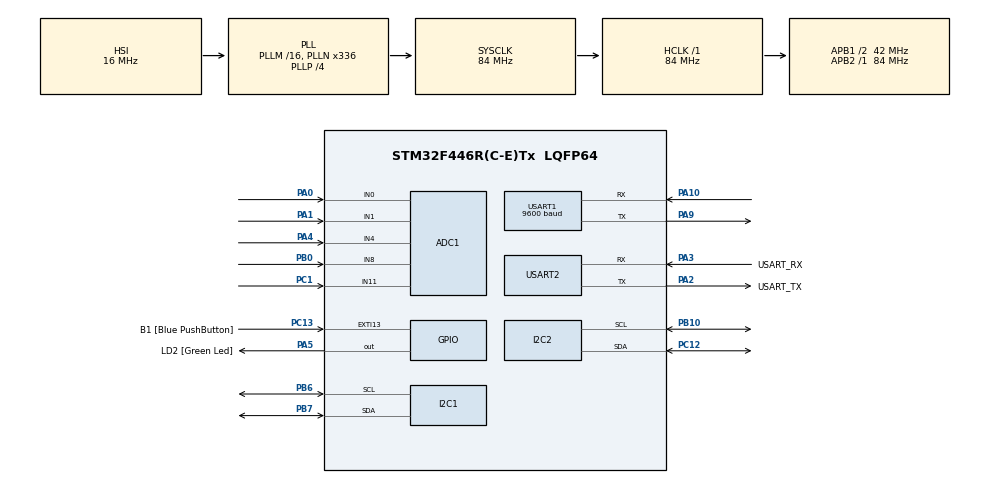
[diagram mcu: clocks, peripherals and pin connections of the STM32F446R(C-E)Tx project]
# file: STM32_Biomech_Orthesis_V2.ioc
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ADC1.Channel-0\#ChannelRegularConversion=ADC_CHANNEL_0
ADC1.Channel-1\#ChannelRegularConversion=ADC_CHANNEL_1
ADC1.Channel-2\#ChannelRegularConversion=ADC_CHANNEL_4
ADC1.Channel-3\#ChannelRegularConversion=ADC_CHANNEL_8
ADC1.Channel-4\#ChannelRegularConversion=ADC_CHANNEL_11
ADC1.ContinuousConvMode=ENABLE
ADC1.NbrOfConversion=5
ADC1.NbrOfConversionFlag=1
ADC1.Rank-0\#ChannelRegularConversion=1
ADC1.Rank-1\#ChannelRegularConversion=2
ADC1.Rank-2\#ChannelRegularConversion=3
ADC1.Rank-3\#ChannelRegularConversion=4
ADC1.Rank-4\#ChannelRegularConversion=5
ADC1.SamplingTime-0\#ChannelRegularConversion=ADC_SAMPLETIME_56CYCLES
ADC1.SamplingTime-1\#ChannelRegularConversion=ADC_SAMPLETIME_56CYCLES
ADC1.SamplingTime-2\#ChannelRegularConversion=ADC_SAMPLETIME_56CYCLES
ADC1.SamplingTime-3\#ChannelRegularConversion=ADC_SAMPLETIME_56CYCLES
ADC1.SamplingTime-4\#ChannelRegularConversion=ADC_SAMPLETIME_56CYCLES
ADC1.master=1
I2C1.I2C_Mode=I2C_Fast
I2C2.I2C_Mode=I2C_Fast
Mcu.Family=STM32F4
Mcu.Name=STM32F446R(C-E)Tx
Mcu.Package=LQFP64
NVIC.PriorityGroup=NVIC_PRIORITYGROUP_0
PA0-WKUP.Signal=ADCx_IN0
PA1.Signal=ADCx_IN1
PA10.Mode=Asynchronous
PA10.Signal=USART1_RX
PA13.GPIO_Label=TMS
PA13.Mode=Serial_Wire
PA13.Signal=SYS_JTMS-SWDIO
PA14.GPIO_Label=TCK
PA14.Mode=Serial_Wire
PA14.Signal=SYS_JTCK-SWCLK
PA2.GPIO_Label=USART_TX
PA2.Mode=Asynchronous
PA2.Signal=USART2_TX
PA3.GPIO_Label=USART_RX
PA3.Mode=Asynchronous
PA3.Signal=USART2_RX
PA4.Signal=ADCx_IN4
PA5.GPIO_Label=LD2 [Green Led]
PA5.Signal=GPIO_Output
PA9.Mode=Asynchronous
PA9.Signal=USART1_TX
PB0.Signal=ADCx_IN8
PB10.Mode=I2C
PB10.Signal=I2C2_SCL
PB3.GPIO_Label=SWO
PB3.Signal=SYS_JTDO-SWO
PB6.Mode=I2C
PB6.Signal=I2C1_SCL
PB7.Mode=I2C
PB7.Signal=I2C1_SDA
PC1.Signal=ADCx_IN11
PC12.Mode=I2C
PC12.Signal=I2C2_SDA
PC13.GPIO_Label=B1 [Blue PushButton]
PC13.GPIO_ModeDefaultEXTI=GPIO_MODE_IT_FALLING
PC13.Signal=GPXTI13
PC14-OSC32_IN.Mode=LSE-External-Oscillator
PC14-OSC32_IN.Signal=RCC_OSC32_IN
PC15-OSC32_OUT.Mode=LSE-External-Oscillator
PC15-OSC32_OUT.Signal=RCC_OSC32_OUT
PH0-OSC_IN.Mode=HSE-External-Oscillator
PH0-OSC_IN.Signal=RCC_OSC_IN
PH1-OSC_OUT.Mode=HSE-External-Oscillator
PH1-OSC_OUT.Signal=RCC_OSC_OUT
ProjectManager.HeapSize=0x200
ProjectManager.StackSize=0x400
ProjectManager.TargetToolchain=STM32CubeIDE
RCC.48MHZClocksFreq_Value=84000000
RCC.AHBFreq_Value=84000000
RCC.APB1CLKDivider=RCC_HCLK_DIV2
RCC.APB1Freq_Value=42000000
RCC.APB1TimFreq_Value=84000000
RCC.APB2Freq_Value=84000000
RCC.APB2TimFreq_Value=84000000
RCC.CortexFreq_Value=84000000
RCC.FLatency-AdvancedSettings=FLASH_LATENCY_2
RCC.HCLKFreq_Value=84000000
RCC.HSE_VALUE=8000000
RCC.HSI_VALUE=16000000
RCC.PLLN=336
RCC.PLLP=RCC_PLLP_DIV4
RCC.SYSCLKFreq_VALUE=84000000
RCC.SYSCLKSource=RCC_SYSCLKSOURCE_PLLCLK
RCC.USBFreq_Value=168000000
RCC.VCOOutputFreq_Value=336000000
SH.ADCx_IN0.0=ADC1_IN0,IN0
SH.ADCx_IN1.0=ADC1_IN1,IN1
SH.ADCx_IN11.0=ADC1_IN11,IN11
SH.ADCx_IN4.0=ADC1_IN4,IN4
SH.ADCx_IN8.0=ADC1_IN8,IN8
USART1.BaudRate=9600
USART1.VirtualMode=VM_ASYNC
USART1.WordLength=WORDLENGTH_8B
USART2.VirtualMode=VM_ASYNC
board=NUCLEO-F446RE

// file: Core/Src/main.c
/* USER CODE BEGIN Header */
/**
  ******************************************************************************
  * @file           : main.c
  * @brief          : Main program body
  ******************************************************************************
  * @attention
  *
  * Copyright (c) 2023 STMicroelectronics.
  * All rights reserved.
  *
  * This software is licensed under terms that can be found in the LICENSE file
  * in the root directory of this software component.
  * If no LICENSE file comes with this software, it is provided AS-IS.
  *
  ******************************************************************************
  */
/* USER CODE END Header */
#include "main.h"
#include "adc.h"
#include "i2c.h"
#include "usart.h"
#include "gpio.h"

/* USER CODE BEGIN Includes */
#include <stdio.h>
#include <string.h>
#include <stdlib.h>
#include <math.h>
#include <stdbool.h>

/* USER CODE END Includes */

/* USER CODE BEGIN PTD */
#define MPU6050_ADDR 0xD0
#define MPU6050_ADDRES 0xD2

#define SMPLRT_DIV_REG 0x19
#define GYRO_CONFIG_REG 0x1B
#define ACCEL_CONFIG_REG 0x1C
#define ACCEL_XOUT_H_REG 0x3B
#define TEMP_OUT_H_REG 0x41
#define GYRO_XOUT_H_REG 0x43
#define PWR_MGMT_1_REG 0x6B
#define WHO_AM_I_REG 0x75
/* USER CODE END PTD */

/* USER CODE BEGIN PD */
uint16_t ACCEL_XOUT, ACCEL_YOUT, ACCEL_ZOUT;

int16_t Accel_X_RAW = 0;
int16_t Accel_Y_RAW = 0;
int16_t Accel_Z_RAW = 0;

int16_t Gyro_X_RAW = 0;
int16_t Gyro_Y_RAW = 0;
int16_t Gyro_Z_RAW = 0;

int16_t Accel_X_RAW2 = 0;
int16_t Accel_Y_RAW2 = 0;
int16_t Accel_Z_RAW2 = 0;

int16_t Gyro_X_RAW2 = 0;
int16_t Gyro_Y_RAW2 = 0;
int16_t Gyro_Z_RAW2 = 0;
uint8_t data;
uint8_t Rec_Data[6], Rec_Data2[6];;
uint8_t buffer[2],tuffer[6],cuffer[6]; // ham gyro ve acc değerlerinin tutulduğu listeler
int16_t gyro_raw[3],acc_raw[3];        // anlamlandırılmış ham değerler
float gyro_cal1[3],gyro_cal2[3]; // kalibrasyon offsetlerini tutan liste
int16_t acc_total_vector1, acc_total_vector2;
float angle_pitch_gyro1, angle_roll_gyro1, angle_pitch_gyro2, angle_roll_gyro2;
float angle_pitch_acc1, angle_roll_acc1, angle_pitch_acc2, angle_roll_acc2, angle_pitch_acc_sum, angle_roll_acc_sum,acc_total_vector_sum;
float angle_pitch1,angle_roll1, angle_pitch2,angle_roll2;
int16_t raw_temp;
float temp;
int i,j;
float prevtime,prevtime1,time1,elapsedtime1,prevtime2,time2,elapsedtime2;
uint16_t flexADCvalue[5];
float Vflex[5];
float angles[5];
float Ax, Ay, Az, Gx, Gy, Gz;
float Ax2, Ay2, Az2, Gx2, Gy2, Gz2;
uint8_t Rx_data[1];

float Rcc1 = 9.94;
float Rcc2 = 9.71;
float Rcc3 = 9.66;
float Rcc4 = 31.5;
float Rcc5 = 30.2;
float Rf1 = 0;
float Rf2 = 0;
float Rf3 = 0;
float Rf4 = 0;
float Rf5 = 0;
float Rf1b = 0;
float Rf2b = 0;
float Rf3b = 0;
float Rf4b = 0;
float Rf5b = 0;
float Rf1bb = 0;
float Rf2bb = 0;
float Rf3bb = 0;
float Rf4bb = 0;
float Rf5bb = 0;

/* USER CODE END PD */

void SystemClock_Config(void);

/* USER CODE BEGIN 0 */
ADC_ChannelConfTypeDef sConfig = {0};
void Read_ADC0(){
	/** Configure for the selected ADC regular channel its corresponding rank in the sequencer and its sample time.*/
	sConfig.Channel = ADC_CHANNEL_0;
	sConfig.Rank = 1;
	sConfig.SamplingTime = ADC_SAMPLETIME_56CYCLES;
	HAL_ADC_ConfigChannel(&hadc1, &sConfig);
	HAL_ADC_Start(&hadc1);

	if(HAL_ADC_PollForConversion(&hadc1, 1000) == HAL_OK){
		flexADCvalue[0] = HAL_ADC_GetValue(&hadc1);
		//Main aim is sending Vflex data from UART!
		Vflex[0] = 3.3 * flexADCvalue[0] / 4095;
	}

	HAL_ADC_Stop(&hadc1);
}
void Read_ADC1(){
	/** Configure for the selected ADC regular channel its corresponding rank in the sequencer and its sample time.*/
	sConfig.Channel = ADC_CHANNEL_1;
	sConfig.Rank = 1;
	sConfig.SamplingTime = ADC_SAMPLETIME_56CYCLES;
	HAL_ADC_ConfigChannel(&hadc1, &sConfig);
	HAL_ADC_Start(&hadc1);

	if(HAL_ADC_PollForConversion(&hadc1, 1000) == HAL_OK){
		flexADCvalue[1] = HAL_ADC_GetValue(&hadc1);
		//Main aim is sending Vflex data from UART!
		Vflex[1] = 3.3 * flexADCvalue[1] / 4095;
	}

	HAL_ADC_Stop(&hadc1);
}
void Read_ADC2(){
	/** Configure for the selected ADC regular channel its corresponding rank in the sequencer and its sample time.*/
	sConfig.Channel = ADC_CHANNEL_4;
	sConfig.Rank = 1;
	sConfig.SamplingTime = ADC_SAMPLETIME_56CYCLES;
	HAL_ADC_ConfigChannel(&hadc1, &sConfig);
	HAL_ADC_Start(&hadc1);

	if(HAL_ADC_PollForConversion(&hadc1, 1000) == HAL_OK){
		flexADCvalue[2] = HAL_ADC_GetValue(&hadc1);
		//Main aim is sending Vflex data from UART!
		Vflex[2] = 3.3 * flexADCvalue[2] / 4095;
	}

	HAL_ADC_Stop(&hadc1);
}
void Read_ADC3(){
	/** Configure for the selected ADC regular channel its corresponding rank in the sequencer and its sample time.*/
	sConfig.Channel = ADC_CHANNEL_8;
	sConfig.Rank = 1;
	sConfig.SamplingTime = ADC_SAMPLETIME_56CYCLES;
	HAL_ADC_ConfigChannel(&hadc1, &sConfig);
	HAL_ADC_Start(&hadc1);

	if(HAL_ADC_PollForConversion(&hadc1, 1000) == HAL_OK){
		flexADCvalue[3] = HAL_ADC_GetValue(&hadc1);
		//Main aim is sending Vflex data from UART!
		Vflex[3] = 3.3 * flexADCvalue[3] / 4095;
	}

	HAL_ADC_Stop(&hadc1);
}
void Read_ADC4(){
	/** Configure for the selected ADC regular channel its corresponding rank in the sequencer and its sample time.*/
	sConfig.Channel = ADC_CHANNEL_11;
	sConfig.Rank = 1;
	sConfig.SamplingTime = ADC_SAMPLETIME_56CYCLES;
	HAL_ADC_ConfigChannel(&hadc1, &sConfig);
	HAL_ADC_Start(&hadc1);

	if(HAL_ADC_PollForConversion(&hadc1, 1000) == HAL_OK){
		flexADCvalue[4] = HAL_ADC_GetValue(&hadc1);
		//Main aim is sending Vflex data from UART!
		Vflex[4] = 3.3 * flexADCvalue[4] / 4095;
	}

	HAL_ADC_Stop(&hadc1);
}
void floatToChar(float floatValue, char* charArray, int arraySize) {
  // Use snprintf to convert float to char array
  snprintf(charArray, arraySize, "%f", floatValue);
}
void MPU6050_Init (void)
{
	uint8_t check;
	uint8_t Data;

	// check device ID WHO_AM_I

	HAL_I2C_Mem_Read (&hi2c1, MPU6050_ADDR,WHO_AM_I_REG,1, &check, 1, 1000);

	if (check == 104)  // 0x68 will be returned by the sensor if everything goes well
	{
		// power management register 0X6B we should write all 0's to wake the sensor up
		Data = 0;
		HAL_I2C_Mem_Write(&hi2c1, MPU6050_ADDR, PWR_MGMT_1_REG, 1,&Data, 1, 1000);

		// Set DATA RATE of 1KHz by writing SMPLRT_DIV register
		Data = 0x07;
		HAL_I2C_Mem_Write(&hi2c1, MPU6050_ADDR, SMPLRT_DIV_REG, 1, &Data, 1, 1000);

		// Set accelerometer configuration in ACCEL_CONFIG Register
		// XA_ST=0,YA_ST=0,ZA_ST=0, FS_SEL=0 -> ± 2g
		Data = 0x00;
		HAL_I2C_Mem_Write(&hi2c1, MPU6050_ADDR, ACCEL_CONFIG_REG, 1, &Data, 1, 1000);

		// Set Gyroscopic configuration in GYRO_CONFIG Register
		// XG_ST=0,YG_ST=0,ZG_ST=0, FS_SEL=0 -> ± 250 °/s
		Data = 0x00;
		HAL_I2C_Mem_Write(&hi2c1, MPU6050_ADDR, GYRO_CONFIG_REG, 1, &Data, 1, 1000);
	}

//	for(i=0; i<2000; i++)
//{
//	  	  prevtime2 = time2;
//	  	  time2 = HAL_GetTick();
//	  	  elapsedtime2=(time2-prevtime2)*1000;
//
//	  	  Rec_Data[0]=0x43;
//	  	  HAL_I2C_Master_Transmit(&hi2c1,MPU6050_ADDR,Rec_Data,1,HAL_MAX_DELAY);
//	  	  HAL_I2C_Master_Receive(&hi2c1,MPU6050_ADDR,Rec_Data,6,HAL_MAX_DELAY);
//
//	  	  Gyro_X_RAW = (Rec_Data[0] << 8 | Rec_Data[1]);
//	  	  Gyro_Y_RAW = (Rec_Data[2] << 8 | Rec_Data[3]);
//	  	  Gyro_Z_RAW = (Rec_Data[4] << 8 | Rec_Data[5]);
//
//	  	  gyro_cal1[0] += Gyro_X_RAW;
//	  	  gyro_cal1[1] += Gyro_Y_RAW;
//	  	  gyro_cal1[2] += Gyro_Z_RAW;
//
//	  	  HAL_Delay(3);
//}

//	    gyro_cal1[0] /= 2000;
//	    gyro_cal1[1] /= 2000;
//	    gyro_cal1[2] /= 2000;
}
void flexAngle(float *result, float Rcc,float Rfb, float Vf) {
    float Rf = (Rcc * Vf) / (3.3 - Vf);
    float change = ((Rf - Rfb) / Rfb) * 100;
    float a = -0.0006;
    float b = 0.7623;
    float c = 4.4311;
    *result = a * change * change + b * change + c;
}

void flexAngleShort(float *result, float Rcc,float Rfb, float Vf) {
    float Rf = (Rcc * Vf) / (3.3 - Vf);
    float change = ((Rf - Rfb) / Rfb) * 100;
    float a = 0.0018;
    float b = 0.8698;
    float c = 1.0836;
    *result = a * change * change + b * change + c;
}

void MPU6050_Init_2 (void)
{
	uint8_t check1;
	uint8_t Data1;

	// check device ID WHO_AM_I

	HAL_I2C_Mem_Read (&hi2c2, MPU6050_ADDRES,WHO_AM_I_REG,1, &check1, 1, 1000);

	if (check1 == 104)  // 0x68 will be returned by the sensor if everything goes well
	{
		// power management register 0X6B we should write all 0's to wake the sensor up
		Data1 = 0;
		HAL_I2C_Mem_Write(&hi2c2, MPU6050_ADDRES, PWR_MGMT_1_REG, 1,&Data1, 1, 1000);

		// Set DATA RATE of 1KHz by writing SMPLRT_DIV register
		Data1 = 0x07;
		HAL_I2C_Mem_Write(&hi2c2, MPU6050_ADDRES, SMPLRT_DIV_REG, 1, &Data1, 1, 1000);

		// Set accelerometer configuration in ACCEL_CONFIG Register
		// XA_ST=0,YA_ST=0,ZA_ST=0, FS_SEL=0 -> ± 2g
		Data1 = 0x00;
		HAL_I2C_Mem_Write(&hi2c2, MPU6050_ADDRES, ACCEL_CONFIG_REG, 1, &Data1, 1, 1000);

		// Set Gyroscopic configuration in GYRO_CONFIG Register
		// XG_ST=0,YG_ST=0,ZG_ST=0, FS_SEL=0 -> ± 250 °/s
		Data1 = 0x00;
		HAL_I2C_Mem_Write(&hi2c2, MPU6050_ADDRES, GYRO_CONFIG_REG, 1, &Data1, 1, 1000);
	}

//	for(j=0; j<2000; j++)
//	    {
//	  	  prevtime2 = time2;
//	  	  time2 = HAL_GetTick();
//	  	  elapsedtime2=(time2-prevtime2)*1000;
//
//	  	  Rec_Data2[0]=0x43;
//	  	  HAL_I2C_Master_Transmit(&hi2c1,MPU6050_ADDR,Rec_Data2,1,HAL_MAX_DELAY);
//	  	  HAL_I2C_Master_Receive(&hi2c1,MPU6050_ADDR,Rec_Data2,6,HAL_MAX_DELAY);
//
//	  	  Gyro_X_RAW2 = (Rec_Data2[0] << 8 | Rec_Data2[1]);
//	  	  Gyro_Y_RAW2 = (Rec_Data2[2] << 8 | Rec_Data2[3]);
//	  	  Gyro_Z_RAW2 = (Rec_Data2[4] << 8 | Rec_Data2[5]);
//
//	  	  gyro_cal2[0] += Gyro_X_RAW;
//	  	  gyro_cal2[1] += Gyro_Y_RAW;
//	  	  gyro_cal2[2] += Gyro_Z_RAW;
//
//	  	  HAL_Delay(3);
//
//	    }
//
//	    gyro_cal2[0] /= 2000;
//	    gyro_cal2[1] /= 2000;
//	    gyro_cal2[2] /= 2000;
}

void MPU_6050_Read_Accel(void){

	uint8_t Read_Acc[6];
	HAL_I2C_Mem_Read(&hi2c1, MPU6050_ADDR, ACCEL_XOUT_H_REG, 1, Read_Acc, 6, 100);
	Accel_X_RAW = (uint16_t)((Read_Acc[0] << 8 )| (Read_Acc[1]));
	Accel_Y_RAW = (uint16_t)((Read_Acc[2] << 8 )| (Read_Acc[3]));
	Accel_Z_RAW = (uint16_t)((Read_Acc[4] << 8 )| (Read_Acc[5]));

	Ax = Accel_X_RAW/16384.0;
	Ay = Accel_Y_RAW/16384.0;
	Az = Accel_Z_RAW/16384.0;

	acc_total_vector1 = sqrt((Accel_X_RAW*Accel_X_RAW)+(Accel_Y_RAW*Accel_Y_RAW)+(Accel_Z_RAW*Accel_Z_RAW));

	angle_pitch_acc1 = asin((float)Accel_Y_RAW/acc_total_vector1)* 57.296;
    angle_roll_acc1 = asin((float)Accel_X_RAW/acc_total_vector1)* -57.296;

    angle_pitch_acc1 -= 0;//0.05;
    angle_roll_acc1 -= 0;//-1.32;

    angle_roll1=atan(Ay/sqrt(Ax*Ax+Az*Az))*1/(3.142/180);
    angle_pitch1=-atan(Ax/sqrt(Ay*Ay+Az*Az))*1/(3.142/180);

}

	void MPU6050_Read_Gyro (void)
	{
		uint8_t Rec_Data[6];

		// Read 6 BYTES of data starting from GYRO_XOUT_H register

		HAL_I2C_Mem_Read (&hi2c1, MPU6050_ADDR, GYRO_XOUT_H_REG, 1, Rec_Data, 6, 1000);

		Gyro_X_RAW = (int16_t)(Rec_Data[0] << 8 | Rec_Data [1]);
		Gyro_Y_RAW = (int16_t)(Rec_Data[2] << 8 | Rec_Data [3]);
		Gyro_Z_RAW = (int16_t)(Rec_Data[4] << 8 | Rec_Data [5]);

		/*** convert the RAW values into dps (°/s)
		     we have to divide according to the Full scale value set in FS_SEL
		     I have configured FS_SEL = 0. So I am dividing by 131.0
		     for more details check GYRO_CONFIG Register              ****/

//		Gx = Gyro_X_RAW/131.0;
//		Gy = Gyro_Y_RAW/131.0;
//		Gz = Gyro_Z_RAW/131.0;

		Gyro_X_RAW -= gyro_cal1[0];
		Gyro_Y_RAW -= gyro_cal1[1];
		Gyro_Z_RAW -= gyro_cal1[2];

		angle_pitch_gyro1 += Gyro_X_RAW * 0.0000611;
	    angle_roll_gyro1 += Gyro_Y_RAW * 0.0000611;

	    angle_pitch_gyro1 += angle_roll_gyro1 * sin(Gyro_Z_RAW  * 0.000001066);
	    angle_roll_gyro1 -= angle_pitch_gyro1 * sin(Gyro_Z_RAW  * 0.000001066);
	}

void MPU_6050_Read_Accel_2(void){

	uint8_t Read_Acc2[6];
	HAL_I2C_Mem_Read(&hi2c2, MPU6050_ADDRES, ACCEL_XOUT_H_REG, 1, Read_Acc2, 6, 100);
	Accel_X_RAW2 = (uint16_t)((Read_Acc2[0] << 8 )| (Read_Acc2[1]));
	Accel_Y_RAW2 = (uint16_t)((Read_Acc2[2] << 8 )| (Read_Acc2[3]));
	Accel_Z_RAW2 = (uint16_t)((Read_Acc2[4] << 8 )| (Read_Acc2[5]));

	Ax2 = Accel_X_RAW2/16384.0;
	Ay2 = Accel_Y_RAW2/16384.0;
	Az2 = Accel_Z_RAW2/16384.0;

	acc_total_vector2 = sqrt((Accel_X_RAW2*Accel_X_RAW2)+(Accel_Y_RAW2*Accel_Y_RAW2)+(Accel_Z_RAW2*Accel_Z_RAW2));

		angle_pitch_acc2 = asin((float)Accel_Y_RAW2/acc_total_vector2)* 57.296;
	    angle_roll_acc2 = asin((float)Accel_X_RAW2/acc_total_vector2)* -57.296;

	    angle_pitch_acc2 -= 0;//0.05;
	    angle_roll_acc2 -= 0;//-1.32;

	    angle_roll2=atan(Ay2/sqrt(Ax2*Ax2+Az2*Az2))*1/(3.142/180);
	    angle_pitch2=-atan(Ax2/sqrt(Ay2*Ay2+Az2*Az2))*1/(3.142/180);
}

	void MPU6050_Read_Gyro_2(void)
	{
		uint8_t Rec_Data2[6];

		// Read 6 BYTES of data starting from GYRO_XOUT_H register

		HAL_I2C_Mem_Read (&hi2c2, MPU6050_ADDRES, GYRO_XOUT_H_REG, 1, Rec_Data2, 6, 1000);

		Gyro_X_RAW2 = (int16_t)(Rec_Data2[0] << 8 | Rec_Data2 [1]);
		Gyro_Y_RAW2 = (int16_t)(Rec_Data2[2] << 8 | Rec_Data2 [3]);
		Gyro_Z_RAW2 = (int16_t)(Rec_Data2[4] << 8 | Rec_Data2 [5]);

		/*** convert the RAW values into dps (°/s)
		     we have to divide according to the Full scale value set in FS_SEL
		     I have configured FS_SEL = 0. So I am dividing by 131.0
		     for more details check GYRO_CONFIG Register              ****/

//		Gx2 = Gyro_X_RAW2/131.0;
//		Gy2 = Gyro_Y_RAW2/131.0;
//		Gz2 = Gyro_Z_RAW2/131.0;

		Gyro_X_RAW2 -= gyro_cal2[0];
		Gyro_Y_RAW2 -= gyro_cal2[1];
		Gyro_Z_RAW2 -= gyro_cal2[2];

		angle_pitch_gyro2 += Gyro_X_RAW2 * 0.0000611;
		angle_roll_gyro2 += Gyro_Y_RAW2 * 0.0000611;

        angle_pitch_gyro2 += angle_roll_gyro1 * sin(Gyro_Z_RAW2 * 0.000001066);
        angle_roll_gyro2 -= angle_pitch_gyro1 * sin(Gyro_Z_RAW2 * 0.000001066);
	}
/* USER CODE END 0 */

int main(void)
{

  /* MCU Configuration--------------------------------------------------------*/

  /* Reset of all peripherals, Initializes the Flash interface and the Systick. */
  HAL_Init();

  /* Configure the system clock */
  SystemClock_Config();

  /* Initialize all configured peripherals */
  MX_GPIO_Init();
  MX_USART2_UART_Init();
  MX_I2C1_Init();
  MX_I2C2_Init();
  MX_USART1_UART_Init();
  MX_ADC1_Init();
  /* USER CODE BEGIN 2 */
  MPU6050_Init();
  MPU6050_Init_2();

  /* USER CODE END 2 */
  /* Infinite loop */
  /* USER CODE BEGIN WHILE */
  while (1)
  {
//	  prevtime1 = time1;
//	  time1 = HAL_GetTick();
//	  elapsedtime1=(time1-prevtime1)*1000;
	  /* UART RECİEVE */
	  HAL_UART_Receive(&huart1, Rx_data, 4, 100);

	  /* Transmit Config */
	  char pitch1[] = "                  ";
	  char pitch2[] = "                  ";
	  char roll1[] = "                  ";
	  char roll2[] = "                  ";
	  char sep[] = "|";

	  /* MPU Acceleration */
	  MPU_6050_Read_Accel();
	  MPU6050_Read_Gyro();
	  MPU_6050_Read_Accel_2();
	  MPU6050_Read_Gyro_2();
	  floatToChar(angle_pitch1, pitch1, sizeof(pitch1));
	  floatToChar(angle_pitch2, pitch2, sizeof(pitch2));
	  floatToChar(angle_roll1, roll1, sizeof(roll1));
	  floatToChar(angle_roll2, roll2, sizeof(roll2));

	  /* Flex Analog Read */
	  Read_ADC0();
	  Read_ADC1();
	  Read_ADC2();
	  Read_ADC3();
	  Read_ADC4();
	  char analog1[] = "                  ";
	  floatToChar(Vflex[0], analog1, sizeof(analog1));
	  char analog2[] = "                  ";
	  floatToChar(Vflex[1], analog2, sizeof(analog2));
	  char analog3[] = "                  ";
	  floatToChar(Vflex[2], analog3, sizeof(analog3));
	  char analog4[] = "                  ";
	  floatToChar(Vflex[3], analog4, sizeof(analog4));
	  char analog5[] = "                  ";
	  floatToChar(Vflex[4], analog5, sizeof(analog5));

	  /* Calibration */
	  if(*Rx_data == 6){
		Rf1bb = 0;
		Rf2bb = 0;
		Rf3bb = 0;
		Rf4bb = 0;
		Rf5bb = 0;
		Rf1b = 0;
		Rf2b = 0;
		Rf3b = 0;
		Rf4b = 0;
		Rf5b = 0;
	  	for(i=0; i<3000; i++){
	  		Read_ADC0();
	  		Read_ADC1();
	  		Read_ADC2();
	  		Read_ADC3();
	  		Read_ADC4();
	  		Rf1 = 0;
	  		Rf2 = 0;
	  		Rf3 = 0;
	  		Rf4 = 0;
	  		Rf5 = 0;
	  		Rf1 = (Rcc1 * Vflex[0]) / (3.3 - Vflex[0]);
	  		Rf2 = (Rcc2 * Vflex[1]) / (3.3 - Vflex[1]);
	  		Rf3 = (Rcc3 * Vflex[2]) / (3.3 - Vflex[2]);
	  		Rf4 = (Rcc4 * Vflex[3]) / (3.3 - Vflex[3]);
	  		Rf5 = (Rcc5 * Vflex[4]) / (3.3 - Vflex[4]);
	  		Rf1b = Rf1b + Rf1;
	  		Rf2b = Rf2b + Rf2;
	  		Rf3b = Rf3b + Rf3;
	  		Rf4b = Rf4b + Rf4;
	  		Rf5b = Rf5b + Rf5;
	  	}
	  	HAL_Delay(100);
	  	Rf1bb = Rf1b/3000;
	  	Rf2bb = Rf2b/3000;
	  	Rf3bb = Rf3b/3000;
	  	Rf4bb = Rf4b/3000;
	  	Rf5bb = Rf5b/3000;
	  	*Rx_data = 0;
	  }

	  /* Angle Calculation for Flex Sensors */
	  flexAngle(&angles[0],Rcc1,Rf1bb, Vflex[0]);
	  flexAngle(&angles[1],Rcc2,Rf2bb, Vflex[1]);
	  flexAngle(&angles[2],Rcc3,Rf3bb, Vflex[2]);
	  flexAngleShort(&angles[3],Rcc4,Rf4bb, Vflex[3]);
	  flexAngleShort(&angles[4],Rcc5,Rf5bb, Vflex[4]);

	  /* Angle Configuration */
	  char angle1[] = "                  ";
	  floatToChar(angles[0], angle1, sizeof(angle1));
	  char angle2[] = "                  ";
	  floatToChar(angles[1], angle2, sizeof(angle2));
	  char angle3[] = "                  ";
	  floatToChar(angles[2], angle3, sizeof(angle3));
	  char angle4[] = "                  ";
	  floatToChar(angles[3], angle4, sizeof(angle4));
	  char angle5[] = "                  ";
	  floatToChar(angles[4], angle5, sizeof(angle5));

	   /* UART Transmit */
	  HAL_UART_Transmit(&huart1, pitch1, sizeof(pitch1), HAL_MAX_DELAY);
	  HAL_UART_Transmit(&huart1, sep, sizeof(sep), HAL_MAX_DELAY);
	  HAL_UART_Transmit(&huart1, pitch2, sizeof(pitch2), HAL_MAX_DELAY);
	  HAL_UART_Transmit(&huart1, sep, sizeof(sep), HAL_MAX_DELAY);
	  HAL_UART_Transmit(&huart1, roll1, sizeof(roll1), HAL_MAX_DELAY);
	  HAL_UART_Transmit(&huart1, sep, sizeof(sep), HAL_MAX_DELAY);
	  HAL_UART_Transmit(&huart1, roll2, sizeof(roll2), HAL_MAX_DELAY);
	  HAL_UART_Transmit(&huart1, sep, sizeof(sep), HAL_MAX_DELAY);
	  HAL_UART_Transmit(&huart1, analog1, sizeof(analog1), HAL_MAX_DELAY);
	  HAL_UART_Transmit(&huart1, sep, sizeof(sep), HAL_MAX_DELAY);
	  HAL_UART_Transmit(&huart1, angle1, sizeof(angle1), HAL_MAX_DELAY);
	  HAL_UART_Transmit(&huart1, sep, sizeof(sep), HAL_MAX_DELAY);
	  HAL_UART_Transmit(&huart1, analog2, sizeof(analog2), HAL_MAX_DELAY);
	  HAL_UART_Transmit(&huart1, sep, sizeof(sep), HAL_MAX_DELAY);
	  HAL_UART_Transmit(&huart1, angle2, sizeof(angle2), HAL_MAX_DELAY);
	  HAL_UART_Transmit(&huart1, sep, sizeof(sep), HAL_MAX_DELAY);
	  HAL_UART_Transmit(&huart1, analog3, sizeof(analog3), HAL_MAX_DELAY);
	  HAL_UART_Transmit(&huart1, sep, sizeof(sep), HAL_MAX_DELAY);
	  HAL_UART_Transmit(&huart1, angle3, sizeof(angle3), HAL_MAX_DELAY);
	  HAL_UART_Transmit(&huart1, sep, sizeof(sep), HAL_MAX_DELAY);
	  HAL_UART_Transmit(&huart1, analog4, sizeof(analog4), HAL_MAX_DELAY);
	  HAL_UART_Transmit(&huart1, sep, sizeof(sep), HAL_MAX_DELAY);
	  HAL_UART_Transmit(&huart1, angle4, sizeof(angle4), HAL_MAX_DELAY);
	  HAL_UART_Transmit(&huart1, sep, sizeof(sep), HAL_MAX_DELAY);
	  HAL_UART_Transmit(&huart1, analog5, sizeof(analog5), HAL_MAX_DELAY);
	  HAL_UART_Transmit(&huart1, sep, sizeof(sep), HAL_MAX_DELAY);
	  HAL_UART_Transmit(&huart1, angle5, sizeof(angle5), HAL_MAX_DELAY);

	  HAL_Delay(1000);

//	  angle_pitch1 = angle_pitch_gyro1 * 0.9996 + angle_pitch_acc1 * 0.0004;
//	  angle_roll1 = angle_roll_gyro1 * 0.9996 + angle_roll_acc1 * 0.0004;
//	  angle_pitch2 = angle_pitch_gyro2 * 0.9996 + angle_pitch_acc2 * 0.0004;
//	  angle_roll2 = angle_roll_gyro2 * 0.9996 + angle_roll_acc2 * 0.0004;
//
//	  while((HAL_GetTick() - prevtime)*1000 < 4000);
//	  prevtime = HAL_GetTick();

    /* USER CODE END WHILE */

  }
}

void SystemClock_Config(void)
{
  RCC_OscInitTypeDef RCC_OscInitStruct = {0};
  RCC_ClkInitTypeDef RCC_ClkInitStruct = {0};

  /** Configure the main internal regulator output voltage
  */
  __HAL_RCC_PWR_CLK_ENABLE();
  __HAL_PWR_VOLTAGESCALING_CONFIG(PWR_REGULATOR_VOLTAGE_SCALE3);

  /** Initializes the RCC Oscillators according to the specified parameters
  * in the RCC_OscInitTypeDef structure.
  */
  RCC_OscInitStruct.OscillatorType = RCC_OSCILLATORTYPE_HSI;
  RCC_OscInitStruct.HSIState = RCC_HSI_ON;
  RCC_OscInitStruct.HSICalibrationValue = RCC_HSICALIBRATION_DEFAULT;
  RCC_OscInitStruct.PLL.PLLState = RCC_PLL_ON;
  RCC_OscInitStruct.PLL.PLLSource = RCC_PLLSOURCE_HSI;
  RCC_OscInitStruct.PLL.PLLM = 16;
  RCC_OscInitStruct.PLL.PLLN = 336;
  RCC_OscInitStruct.PLL.PLLP = RCC_PLLP_DIV4;
  RCC_OscInitStruct.PLL.PLLQ = 2;
  RCC_OscInitStruct.PLL.PLLR = 2;
  if (HAL_RCC_OscConfig(&RCC_OscInitStruct) != HAL_OK)
  {
    Error_Handler();
  }

  /** Initializes the CPU, AHB and APB buses clocks
  */
  RCC_ClkInitStruct.ClockType = RCC_CLOCKTYPE_HCLK|RCC_CLOCKTYPE_SYSCLK
                              |RCC_CLOCKTYPE_PCLK1|RCC_CLOCKTYPE_PCLK2;
  RCC_ClkInitStruct.SYSCLKSource = RCC_SYSCLKSOURCE_PLLCLK;
  RCC_ClkInitStruct.AHBCLKDivider = RCC_SYSCLK_DIV1;
  RCC_ClkInitStruct.APB1CLKDivider = RCC_HCLK_DIV2;
  RCC_ClkInitStruct.APB2CLKDivider = RCC_HCLK_DIV1;

  if (HAL_RCC_ClockConfig(&RCC_ClkInitStruct, FLASH_LATENCY_2) != HAL_OK)
  {
    Error_Handler();
  }
}

void Error_Handler(void)
{
  __disable_irq();
  while (1)
  {
  }
}
